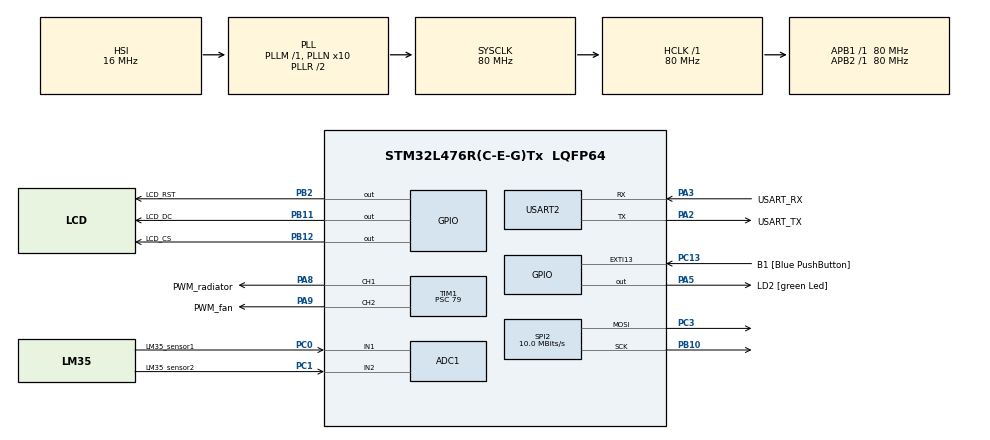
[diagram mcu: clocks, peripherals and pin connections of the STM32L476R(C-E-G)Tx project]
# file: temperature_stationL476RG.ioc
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ADC1.Channel-0\#ChannelRegularConversion=ADC_CHANNEL_1
ADC1.Channel-1\#ChannelRegularConversion=ADC_CHANNEL_2
ADC1.ContinuousConvMode=ENABLE
ADC1.DMAContinuousRequests=ENABLE
ADC1.NbrOfConversion=2
ADC1.NbrOfConversionFlag=1
ADC1.OffsetNumber-0\#ChannelRegularConversion=ADC_OFFSET_NONE
ADC1.OffsetNumber-1\#ChannelRegularConversion=ADC_OFFSET_NONE
ADC1.OversamplingMode=ENABLE
ADC1.Rank-0\#ChannelRegularConversion=1
ADC1.Rank-1\#ChannelRegularConversion=2
ADC1.Ratio=ADC_OVERSAMPLING_RATIO_16
ADC1.RightBitShift=ADC_RIGHTBITSHIFT_4
ADC1.SamplingTime-0\#ChannelRegularConversion=ADC_SAMPLETIME_640CYCLES_5
ADC1.SamplingTime-1\#ChannelRegularConversion=ADC_SAMPLETIME_640CYCLES_5
ADC1.master=1
ARM.CMSIS-DSP.1.16.2.CMSISJjDSP=Source
Dma.ADC1.0.Direction=DMA_PERIPH_TO_MEMORY
Dma.ADC1.0.Instance=DMA1_Channel1
Dma.ADC1.0.MemDataAlignment=DMA_MDATAALIGN_HALFWORD
Dma.ADC1.0.MemInc=DMA_MINC_ENABLE
Dma.ADC1.0.Mode=DMA_CIRCULAR
Dma.ADC1.0.PeriphDataAlignment=DMA_PDATAALIGN_WORD
Dma.ADC1.0.PeriphInc=DMA_PINC_DISABLE
Dma.ADC1.0.Priority=DMA_PRIORITY_LOW
Dma.Request0=ADC1
FREERTOS.Queues01=uartRxQueue,64,uint8_t,0,Dynamic,NULL,NULL
FREERTOS.Tasks01=defaultTask,24,128,StartDefaultTask,Default,NULL,Dynamic,NULL,NULL;tcp_com,8,512,start_usart_com,Default,NULL,Dynamic,NULL,NULL;myTask03,16,256,LcdTask,Default,NULL,Dynamic,NULL,NULL
FREERTOS.Timers01=temp_meas,temp_callback,osTimerPeriodic,Default,NULL,Dynamic,NULL
FREERTOS.configTOTAL_HEAP_SIZE=10240
Mcu.Family=STM32L4
Mcu.Name=STM32L476R(C-E-G)Tx
Mcu.Package=LQFP64
NVIC.DMA1_Channel1_IRQn=true\:5\:0\:false\:false\:true\:true\:false\:true\:true
NVIC.PriorityGroup=NVIC_PRIORITYGROUP_4
NVIC.TIM6_DAC_IRQn=true\:15\:0\:false\:false\:true\:false\:false\:true\:true
NVIC.TimeBase=TIM6_DAC_IRQn
NVIC.TimeBaseIP=TIM6
NVIC.USART2_IRQn=true\:5\:0\:false\:false\:true\:true\:true\:true\:true
PA13\ (JTMS-SWDIO).GPIO_Label=TMS
PA13\ (JTMS-SWDIO).Signal=SYS_JTMS-SWDIO
PA14\ (JTCK-SWCLK).GPIO_Label=TCK
PA14\ (JTCK-SWCLK).Signal=SYS_JTCK-SWCLK
PA2.GPIO_Label=USART_TX
PA2.GPIO_Mode=GPIO_MODE_AF_PP
PA2.GPIO_PuPd=GPIO_NOPULL
PA2.GPIO_Speed=GPIO_SPEED_FREQ_VERY_HIGH
PA2.Mode=Asynchronous
PA2.Signal=USART2_TX
PA3.GPIO_Label=USART_RX
PA3.GPIO_Mode=GPIO_MODE_AF_PP
PA3.GPIO_PuPd=GPIO_NOPULL
PA3.GPIO_Speed=GPIO_SPEED_FREQ_VERY_HIGH
PA3.Mode=Asynchronous
PA3.Signal=USART2_RX
PA5.GPIO_Label=LD2 [green Led]
PA5.GPIO_ModeDefaultOutputPP=GPIO_MODE_OUTPUT_PP
PA5.GPIO_PuPd=GPIO_NOPULL
PA5.GPIO_Speed=GPIO_SPEED_FREQ_LOW
PA5.Signal=GPIO_Output
PA8.GPIO_Label=PWM_radiator
PA8.Signal=S_TIM1_CH1
PA9.GPIO_Label=PWM_fan
PA9.Signal=S_TIM1_CH2
PB10.Mode=TX_Only_Simplex_Unidirect_Master
PB10.Signal=SPI2_SCK
PB11.GPIO_Label=LCD_DC
PB11.Signal=GPIO_Output
PB12.GPIO_Label=LCD_CS
PB12.Signal=GPIO_Output
PB2.GPIO_Label=LCD_RST
PB2.Signal=GPIO_Output
PB3\ (JTDO-TRACESWO).GPIO_Label=SWO
PB3\ (JTDO-TRACESWO).Signal=SYS_JTDO-SWO
PC0.GPIO_Label=LM35_sensor1
PC0.Signal=ADCx_IN1
PC1.GPIO_Label=LM35_sensor2
PC1.Signal=ADCx_IN2
PC13.GPIO_Label=B1 [Blue PushButton]
PC13.GPIO_ModeDefaultEXTI=GPIO_MODE_IT_FALLING
PC13.GPIO_PuPd=GPIO_NOPULL
PC13.Signal=GPXTI13
PC14-OSC32_IN\ (PC14).Signal=RCC_OSC32_IN
PC15-OSC32_OUT\ (PC15).Signal=RCC_OSC32_OUT
PC3.Mode=TX_Only_Simplex_Unidirect_Master
PC3.Signal=SPI2_MOSI
PH0-OSC_IN\ (PH0).Signal=RCC_OSC_IN
PH1-OSC_OUT\ (PH1).Signal=RCC_OSC_OUT
ProjectManager.HeapSize=0x200
ProjectManager.StackSize=0x400
ProjectManager.TargetToolchain=CMake
RCC.ADCFreq_Value=64000000
RCC.AHBFreq_Value=80000000
RCC.APB1Freq_Value=80000000
RCC.APB1TimFreq_Value=80000000
RCC.APB2Freq_Value=80000000
RCC.APB2TimFreq_Value=80000000
RCC.CortexFreq_Value=80000000
RCC.HCLKFreq_Value=80000000
RCC.HSE_VALUE=8000000
RCC.HSI_VALUE=16000000
RCC.LSE_VALUE=32768
RCC.MSI_VALUE=4000000
RCC.PLLN=10
RCC.PLLSourceVirtual=RCC_PLLSOURCE_HSI
RCC.PREFETCH_ENABLE=1
RCC.SYSCLKFreq_VALUE=80000000
RCC.SYSCLKSource=RCC_SYSCLKSOURCE_PLLCLK
RCC.USBFreq_Value=64000000
RCC.VCOOutputFreq_Value=160000000
SH.ADCx_IN1.0=ADC1_IN1,IN1-Single-Ended
SH.ADCx_IN2.0=ADC1_IN2,IN2-Single-Ended
SH.S_TIM1_CH1.0=TIM1_CH1,PWM Generation1 CH1
SH.S_TIM1_CH2.0=TIM1_CH2,PWM Generation2 CH2
SPI2.BaudRatePrescaler=SPI_BAUDRATEPRESCALER_8
SPI2.CalculateBaudRate=10.0 MBits/s
SPI2.DataSize=SPI_DATASIZE_8BIT
SPI2.Direction=SPI_DIRECTION_2LINES
SPI2.Mode=SPI_MODE_MASTER
SPI2.VirtualType=VM_MASTER
TIM1.Channel-PWM\ Generation1\ CH1=TIM_CHANNEL_1
TIM1.Channel-PWM\ Generation2\ CH2=TIM_CHANNEL_2
TIM1.Period=999
TIM1.Prescaler=79
USART2.VirtualMode-Asynchronous=VM_ASYNC
VP_ARM.CMSIS-DSP_VS_CMSISJjDSP_1.16.2_1.16.2.Mode=CMSISJjDSP
VP_FREERTOS_VS_CMSIS_V2.Mode=CMSIS_V2
VP_SYS_VS_tim6.Mode=TIM6
VP_TIM1_VS_ClockSourceINT.Mode=Internal
board=NUCLEO-L476RG

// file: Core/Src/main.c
/* USER CODE BEGIN Header */
/**
  ******************************************************************************
  * @file           : main.c
  * @brief          : Main program body
  ******************************************************************************
  * @attention
  *
  * Copyright (c) 2026 STMicroelectronics.
  * All rights reserved.
  *
  * This software is licensed under terms that can be found in the LICENSE file
  * in the root directory of this software component.
  * If no LICENSE file comes with this software, it is provided AS-IS.
  *
  ******************************************************************************
  */
/* USER CODE END Header */
#include "main.h"
#include "cmsis_os.h"
#include "adc.h"
#include "dma.h"
#include "spi.h"
#include "tim.h"
#include "usart.h"
#include "gpio.h"

/* USER CODE BEGIN Includes */
#include "string.h"
/* USER CODE END Includes */

void SystemClock_Config(void);
void MX_FREERTOS_Init(void);

int main(void)
{

  /* MCU Configuration--------------------------------------------------------*/

  /* Reset of all peripherals, Initializes the Flash interface and the Systick. */
  HAL_Init();

  /* Configure the system clock */
  SystemClock_Config();

  /* Initialize all configured peripherals */
  MX_GPIO_Init();
  MX_DMA_Init();
  MX_USART2_UART_Init();
  MX_ADC1_Init();
  MX_TIM1_Init();
  MX_SPI2_Init();

  /* Init scheduler */
  osKernelInitialize();  /* Call init function for freertos objects (in cmsis_os2.c) */
  MX_FREERTOS_Init();

  /* Start scheduler */
  osKernelStart();

  /* We should never get here as control is now taken by the scheduler */

  /* Infinite loop */
  while (1)
  {

  }
}

void SystemClock_Config(void)
{
  RCC_OscInitTypeDef RCC_OscInitStruct = {0};
  RCC_ClkInitTypeDef RCC_ClkInitStruct = {0};

  /** Configure the main internal regulator output voltage
  */
  if (HAL_PWREx_ControlVoltageScaling(PWR_REGULATOR_VOLTAGE_SCALE1) != HAL_OK)
  {
    Error_Handler();
  }

  /** Initializes the RCC Oscillators according to the specified parameters
  * in the RCC_OscInitTypeDef structure.
  */
  RCC_OscInitStruct.OscillatorType = RCC_OSCILLATORTYPE_HSI;
  RCC_OscInitStruct.HSIState = RCC_HSI_ON;
  RCC_OscInitStruct.HSICalibrationValue = RCC_HSICALIBRATION_DEFAULT;
  RCC_OscInitStruct.PLL.PLLState = RCC_PLL_ON;
  RCC_OscInitStruct.PLL.PLLSource = RCC_PLLSOURCE_HSI;
  RCC_OscInitStruct.PLL.PLLM = 1;
  RCC_OscInitStruct.PLL.PLLN = 10;
  RCC_OscInitStruct.PLL.PLLP = RCC_PLLP_DIV7;
  RCC_OscInitStruct.PLL.PLLQ = RCC_PLLQ_DIV2;
  RCC_OscInitStruct.PLL.PLLR = RCC_PLLR_DIV2;
  if (HAL_RCC_OscConfig(&RCC_OscInitStruct) != HAL_OK)
  {
    Error_Handler();
  }

  /** Initializes the CPU, AHB and APB buses clocks
  */
  RCC_ClkInitStruct.ClockType = RCC_CLOCKTYPE_HCLK|RCC_CLOCKTYPE_SYSCLK
                              |RCC_CLOCKTYPE_PCLK1|RCC_CLOCKTYPE_PCLK2;
  RCC_ClkInitStruct.SYSCLKSource = RCC_SYSCLKSOURCE_PLLCLK;
  RCC_ClkInitStruct.AHBCLKDivider = RCC_SYSCLK_DIV1;
  RCC_ClkInitStruct.APB1CLKDivider = RCC_HCLK_DIV1;
  RCC_ClkInitStruct.APB2CLKDivider = RCC_HCLK_DIV1;

  if (HAL_RCC_ClockConfig(&RCC_ClkInitStruct, FLASH_LATENCY_4) != HAL_OK)
  {
    Error_Handler();
  }
}

void HAL_TIM_PeriodElapsedCallback(TIM_HandleTypeDef *htim)
{
  if (htim->Instance == TIM6)
  {
    HAL_IncTick();
  }
}

void Error_Handler(void)
{
  __disable_irq();
  while (1)
  {
  }
}

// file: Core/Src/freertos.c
/* USER CODE BEGIN Header */
/**
  ******************************************************************************
  * File Name          : freertos.c
  * Description        : Code for freertos applications
  ******************************************************************************
  * @attention
  *
  * Copyright (c) 2026 STMicroelectronics.
  * All rights reserved.
  *
  * This software is licensed under terms that can be found in the LICENSE file
  * in the root directory of this software component.
  * If no LICENSE file comes with this software, it is provided AS-IS.
  *
  ******************************************************************************
  */
/* USER CODE END Header */

#include "FreeRTOS.h"
#include "task.h"
#include "main.h"
#include "cmsis_os.h"

/* USER CODE BEGIN Includes */
#include <stdio.h>
#include <string.h>
#include "usart.h"
#include "spi.h"

#include "temperature_sensor.h"
#include "heater_control.h"
#include "St7735s.h"
#include "fan_control.h"
#include "pid_lookup.h"
#include "PID_controller.h"
#include "uart_protocol.h"
/* USER CODE END Includes */

/* USER CODE BEGIN PD */
TempSensorHandle_t tempSensors;
HeaterHandle_t heater;
FanHandle_t fan;
ST7735_Handle_t lcd;
UartProtocol_t protocol;

uint16_t adc_buf_temp[MAX_TEMP_SENSORS];

volatile float g_temperature = 0;
volatile float g_setpoint = 35.0f;
volatile uint16_t g_heater_pwm = 0;
volatile uint16_t g_fan_pwm = 0;
volatile uint32_t g_timestamp = 0;
volatile uint8_t g_data_ready = 0;
volatile uint8_t uart_rx_byte;

/* USER CODE END PD */

/* Definitions for defaultTask */
osThreadId_t defaultTaskHandle;
const osThreadAttr_t defaultTask_attributes = {
  .name = "defaultTask",
  .stack_size = 128 * 4,
  .priority = (osPriority_t) osPriorityNormal,
};
/* Definitions for tcp_com */
osThreadId_t tcp_comHandle;
const osThreadAttr_t tcp_com_attributes = {
  .name = "tcp_com",
  .stack_size = 512 * 4,
  .priority = (osPriority_t) osPriorityLow,
};
/* Definitions for myTask03 */
osThreadId_t myTask03Handle;
const osThreadAttr_t myTask03_attributes = {
  .name = "myTask03",
  .stack_size = 256 * 4,
  .priority = (osPriority_t) osPriorityBelowNormal,
};
/* Definitions for uartRxQueue */
osMessageQueueId_t uartRxQueueHandle;
const osMessageQueueAttr_t uartRxQueue_attributes = {
  .name = "uartRxQueue"
};
/* Definitions for temp_meas */
osTimerId_t temp_measHandle;
const osTimerAttr_t temp_meas_attributes = {
  .name = "temp_meas"
};

void StartDefaultTask(void *argument);
void start_usart_com(void *argument);
void LcdTask(void *argument);
void temp_callback(void *argument);

void MX_FREERTOS_Init(void); /* (MISRA C 2004 rule 8.1) */

void MX_FREERTOS_Init(void) {
  /* USER CODE BEGIN Init */

  TempSensor_Init(&tempSensors, &hadc1, MAX_TEMP_SENSORS, adc_buf_temp, 3.3f);
  Heater_Init(&heater, &htim1, TIM_CHANNEL_1);
  Fan_Init(&fan, &htim1, TIM_CHANNEL_2);
  ST7735_Init(&lcd, &hspi2);
  UartProtocol_Init(&protocol, &huart2);
  HAL_UART_Receive_IT(&huart2, (uint8_t*)&uart_rx_byte, 1);

  Heater_Start(&heater);
  TempSensor_Start(&tempSensors);
  Fan_Start(&fan);
  Temperature_Control_Init();
  Temperature_Control_SetTarget(35.0f);
  Temperature_Control_SetFanPWM(299);

  Heater_SetPower(&heater, 0);
  Fan_SetSpeed(&fan, 299);
  /* USER CODE END Init */

  /* Create the timer(s) */
  /* creation of temp_meas */
  temp_measHandle = osTimerNew(temp_callback, osTimerPeriodic, NULL, &temp_meas_attributes);

  /* USER CODE BEGIN RTOS_TIMERS */
  /* start timers, add new ones, ... */
  osTimerStart(temp_measHandle, 1000);
  /* USER CODE END RTOS_TIMERS */

  /* Create the queue(s) */
  /* creation of uartRxQueue */
  uartRxQueueHandle = osMessageQueueNew (64, sizeof(uint8_t), &uartRxQueue_attributes);

  /* Create the thread(s) */
  /* creation of defaultTask */
  defaultTaskHandle = osThreadNew(StartDefaultTask, NULL, &defaultTask_attributes);

  /* creation of tcp_com */
  tcp_comHandle = osThreadNew(start_usart_com, NULL, &tcp_com_attributes);

  /* creation of myTask03 */
  myTask03Handle = osThreadNew(LcdTask, NULL, &myTask03_attributes);

}

void StartDefaultTask(void *argument)
{
  for(;;)
  {
    osDelay(1);
  }
}

void start_usart_com(void *argument)
{
  /* USER CODE BEGIN start_usart_com */
  uint8_t rx_byte;
  /* Infinite loop */
  for(;;)
  {
	    while (osMessageQueueGet(uartRxQueueHandle, &rx_byte, NULL, 10) == osOK) {
	      UartProtocol_ReceiveByte(&protocol, rx_byte);
	    }

	    UartCommand_t cmd = UartProtocol_Parse(&protocol);

	    switch (cmd) {
	      case CMD_SET_TEMP: {
	        float new_setpoint = UartProtocol_GetArg(&protocol);
	        Temperature_Control_SetTarget(new_setpoint);
	        g_setpoint = new_setpoint;
	        break;
	      }
	      case CMD_START:
	        osTimerStart(temp_measHandle, 1000);
	        break;
	      case CMD_STOP:
	        osTimerStop(temp_measHandle);
	        Heater_SetPower(&heater, 0);
	        Fan_SetSpeed(&fan, 0);
	        g_heater_pwm = 0;
	        g_fan_pwm = 0;
	        break;
	      default:
	        break;
	    }

	    if (g_data_ready) {
	      UartProtocol_SendData(&protocol, g_temperature, g_setpoint,
	                            g_heater_pwm, g_fan_pwm, g_timestamp);
	      g_data_ready = 0;
	    }

	    osDelay(10);
  }
  /* USER CODE END start_usart_com */
}

void LcdTask(void *argument)
{
  /* USER CODE BEGIN LcdTask */
  /* Infinite loop */
  for(;;)
  {
   ST7735_ShowTemperature(&lcd,
	                      g_temperature,
	                      g_setpoint,
	                      g_heater_pwm,
	                      g_fan_pwm);
   osDelay(500);
  }
  /* USER CODE END LcdTask */
}

/* temp_callback function */
void temp_callback(void *argument)
{
  /* USER CODE BEGIN temp_callback */
  float t_avg = TempSensor_GetAverageTemperature(&tempSensors);
  Temperature_Control_Update(t_avg);

  uint16_t h_pwm = Temperature_Control_GetHeaterPWM();
  uint16_t f_pwm = Temperature_Control_GetFanPWM();
  Heater_SetPower(&heater, h_pwm);
  Fan_SetSpeed(&fan, f_pwm);

  g_temperature = t_avg;
  g_setpoint = Temperature_Control_GetSetpoint();
  g_heater_pwm = h_pwm;
  g_fan_pwm = f_pwm;
  g_timestamp += 500;
  g_data_ready = 1;

  /* USER CODE END temp_callback */
}

/* USER CODE BEGIN Application */
void HAL_UART_RxCpltCallback(UART_HandleTypeDef *huart)
{
    if (huart == &huart2) {
        osMessageQueuePut(uartRxQueueHandle, (void*)&uart_rx_byte, 0, 0);
        HAL_UART_Receive_IT(&huart2, (uint8_t*)&uart_rx_byte, 1);
    }
}
/* USER CODE END Application */
